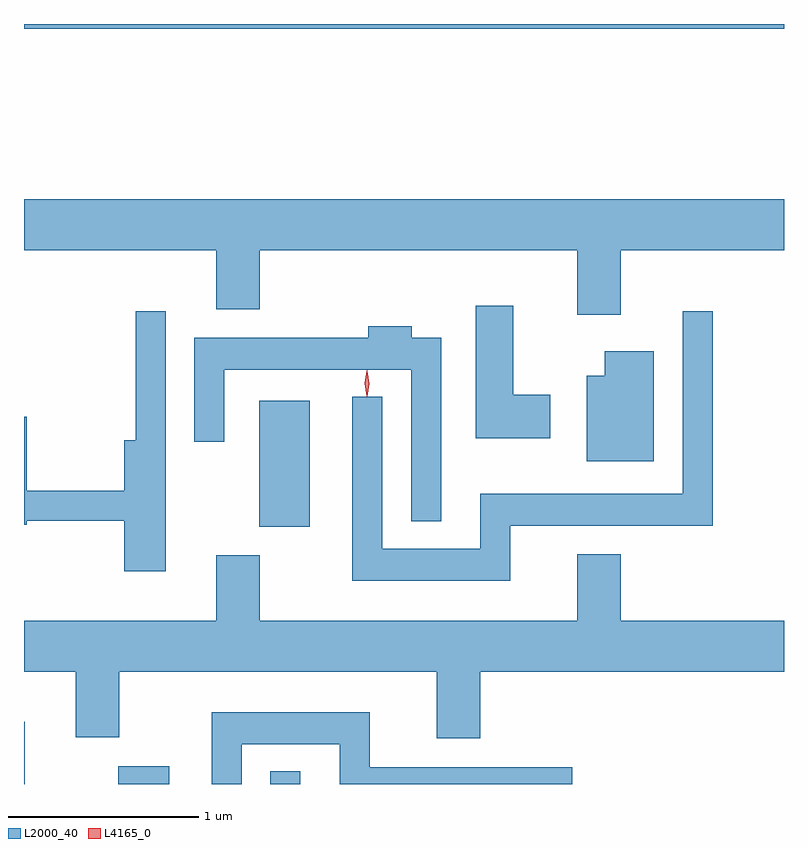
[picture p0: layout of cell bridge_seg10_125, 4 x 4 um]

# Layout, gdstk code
import gdstk
lib = gdstk.Library(unit=1e-6, precision=1e-09)
def R(c, l, rs):  # rectangles x0, y0, x1, y1
    for r in rs: c.add(gdstk.rectangle(r[:2], r[2:], *l))
def P(c, l, *ps):  # polygons
    for p in ps: c.add(gdstk.Polygon(p, *l))
L2000_40 = (2000, 40)
L4165_0 = (4165, 0)

bridge_seg10_125 = lib.new_cell('bridge_seg10_125')
R(bridge_seg10_125, L2000_40, [(1656.289,2100.006,1656.294,2100.334), (1656.786,2100.006,1657.054,2100.099), (1657.586,2100.006,1657.744,2100.073), (1657.526,2101.361,1657.794,2102.024), (1656.289,2103.981,1660.289,2104.006)])
P(bridge_seg10_125, L2000_40, [(1659.429,2102.816),(1660.289,2102.816),(1660.289,2103.084),(1656.289,2103.084),(1656.289,2102.816),(1657.301,2102.816),(1657.301,2102.506),(1657.529,2102.506),(1657.529,2102.816),(1659.201,2102.816),(1659.201,2102.476),(1659.429,2102.476)],
  [(1659.059,2102.054),(1658.864,2102.054),(1658.864,2102.524),(1658.666,2102.524),(1658.666,2101.826),(1659.059,2101.826)],
  [(1658.849,2101.366),(1659.914,2101.366),(1659.914,2102.493),(1659.756,2102.493),(1659.756,2101.534),(1658.691,2101.534),(1658.691,2101.244),(1658.174,2101.244),(1658.174,2102.043),(1658.016,2102.043),(1658.016,2101.076),(1658.849,2101.076)],
  [(1657.034,2102.493),(1656.876,2102.493),(1656.876,2101.814),(1656.816,2101.814),(1656.816,2101.549),(1656.304,2101.549),(1656.304,2101.939),(1656.289,2101.939),(1656.289,2101.371),(1656.304,2101.371),(1656.304,2101.391),(1656.816,2101.391),(1656.816,2101.126),(1657.034,2101.126)],
  [(1658.484,2102.354),(1658.329,2102.354),(1658.329,2102.414),(1658.101,2102.414),(1658.101,2102.354),(1657.186,2102.354),(1657.186,2101.808),(1657.344,2101.808),(1657.344,2102.186),(1658.326,2102.186),(1658.326,2101.388),(1658.484,2101.388)],
  [(1659.604,2102.284),(1659.346,2102.284),(1659.346,2102.154),(1659.251,2102.154),(1659.251,2101.706),(1659.604,2101.706)],
  [(1658.689,2100.596),(1660.289,2100.596),(1660.289,2100.864),(1659.429,2100.864),(1659.429,2101.214),(1659.201,2101.214),(1659.201,2100.864),(1657.529,2100.864),(1657.529,2101.209),(1657.301,2101.209),(1657.301,2100.864),(1656.289,2100.864),(1656.289,2100.596),(1656.561,2100.596),(1656.561,2100.251),(1656.789,2100.251),(1656.789,2100.596),(1658.461,2100.596),(1658.461,2100.246),(1658.689,2100.246)],
  [(1657.434,2100.216),(1657.951,2100.216),(1657.951,2100.006),(1659.174,2100.006),(1659.174,2100.094),(1658.109,2100.094),(1658.109,2100.384),(1657.276,2100.384),(1657.276,2100.006),(1657.434,2100.006)])
P(bridge_seg10_125, L4165_0, [(1658.093,2102.047),(1658.093,2102.048),(1658.083,2102.114),(1658.093,2102.18),(1658.093,2102.18),(1658.094,2102.18),(1658.103,2102.114),(1658.094,2102.048)],
  [(1658.094,2102.044),(1658.085,2102.113),(1658.094,2102.182),(1658.095,2102.183),(1658.095,2102.182),(1658.105,2102.113),(1658.095,2102.044),(1658.095,2102.044)])

lib.write_gds('bridge_seg10_125.gds')
